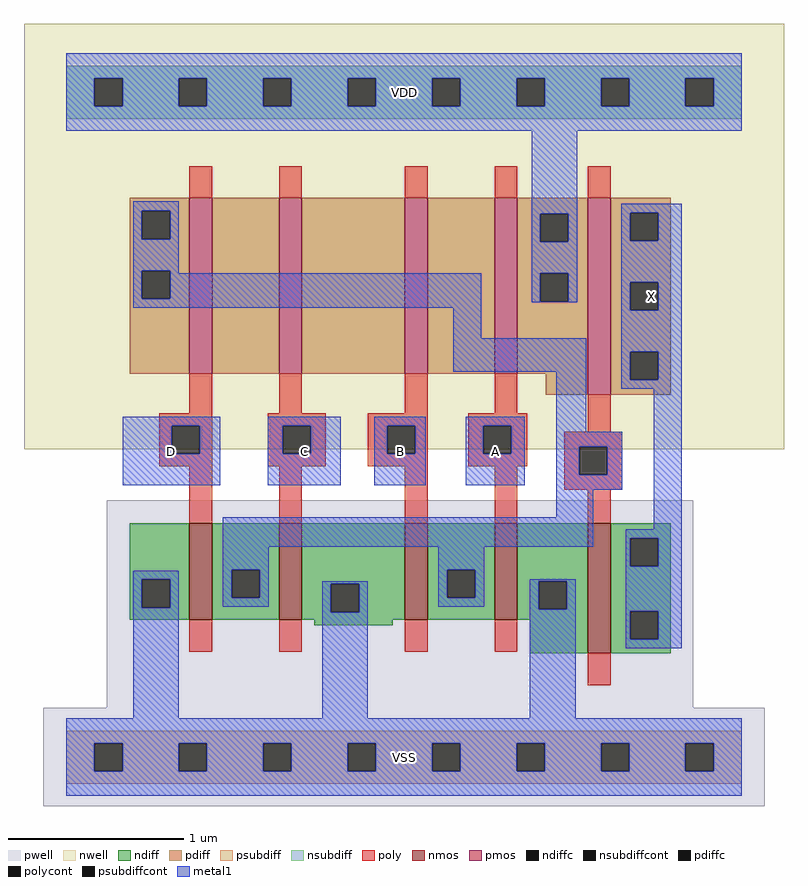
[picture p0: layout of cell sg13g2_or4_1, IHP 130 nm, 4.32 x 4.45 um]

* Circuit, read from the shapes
.subckt sg13g2_or4_1 X C D VDD VSS A B
XM1 n1 D VSS VSS sg13_lv_nmos w=0.55u l=0.13u
XM2 VSS C n1 VSS sg13_lv_nmos w=0.55u l=0.13u
XM3 n1 B VSS VSS sg13_lv_nmos w=0.55u l=0.13u
XM4 VSS A n1 VSS sg13_lv_nmos w=0.55u l=0.13u
XM5 X n1 VSS VSS sg13_lv_nmos w=0.74u l=0.13u
XM6 n2 D n1 VDD sg13_lv_pmos w=1u l=0.13u
XM7 n3 C n2 VDD sg13_lv_pmos w=1u l=0.13u
XM8 n4 B n3 VDD sg13_lv_pmos w=1u l=0.13u
XM9 VDD A n4 VDD sg13_lv_pmos w=1u l=0.13u
XM10 X n1 VDD VDD sg13_lv_pmos w=1.12u l=0.13u
.ends

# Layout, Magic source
magic
tech ihp-sg13g2
magscale 1 2
<< nwell >>
rect -48 350 816 834
<< pwell >>
rect 46 56 713 292
rect -26 -56 794 56
<< nmos >>
rect 140 156 166 266
rect 242 156 268 266
rect 385 156 411 266
rect 487 156 513 266
rect 593 118 619 266
<< pmos >>
rect 140 436 166 636
rect 242 436 268 636
rect 385 436 411 636
rect 487 436 513 636
rect 593 412 619 636
<< ndiff >>
rect 72 202 140 266
rect 72 170 86 202
rect 118 170 140 202
rect 72 156 140 170
rect 166 213 242 266
rect 166 181 188 213
rect 220 181 242 213
rect 166 156 242 181
rect 268 197 385 266
rect 268 165 301 197
rect 333 165 385 197
rect 268 156 385 165
rect 411 213 487 266
rect 411 181 433 213
rect 465 181 487 213
rect 411 156 487 181
rect 513 200 593 266
rect 513 168 537 200
rect 569 168 593 200
rect 513 156 593 168
rect 282 150 371 156
rect 527 118 593 156
rect 619 249 687 266
rect 619 217 641 249
rect 673 217 687 249
rect 619 166 687 217
rect 619 134 641 166
rect 673 134 687 166
rect 619 118 687 134
<< pdiff >>
rect 72 621 140 636
rect 72 589 86 621
rect 118 589 140 621
rect 72 553 140 589
rect 72 521 86 553
rect 118 521 140 553
rect 72 436 140 521
rect 166 436 242 636
rect 268 436 385 636
rect 411 436 487 636
rect 513 618 593 636
rect 513 586 539 618
rect 571 586 593 618
rect 513 550 593 586
rect 513 518 539 550
rect 571 518 593 550
rect 513 436 593 518
rect 545 412 593 436
rect 619 619 687 636
rect 619 587 641 619
rect 673 587 687 619
rect 619 540 687 587
rect 619 508 641 540
rect 673 508 687 540
rect 619 461 687 508
rect 619 429 641 461
rect 673 429 687 461
rect 619 412 687 429
<< ndiffc >>
rect 86 170 118 202
rect 188 181 220 213
rect 301 165 333 197
rect 433 181 465 213
rect 537 168 569 200
rect 641 217 673 249
rect 641 134 673 166
<< pdiffc >>
rect 86 589 118 621
rect 86 521 118 553
rect 539 586 571 618
rect 539 518 571 550
rect 641 587 673 619
rect 641 508 673 540
rect 641 429 673 461
<< psubdiff >>
rect 0 16 768 30
rect 0 -16 32 16
rect 64 -16 128 16
rect 160 -16 224 16
rect 256 -16 320 16
rect 352 -16 416 16
rect 448 -16 512 16
rect 544 -16 608 16
rect 640 -16 704 16
rect 736 -16 768 16
rect 0 -30 768 -16
<< nsubdiff >>
rect 0 772 768 786
rect 0 740 32 772
rect 64 740 128 772
rect 160 740 224 772
rect 256 740 320 772
rect 352 740 416 772
rect 448 740 512 772
rect 544 740 608 772
rect 640 740 704 772
rect 736 740 768 772
rect 0 726 768 740
<< psubdiffcont >>
rect 32 -16 64 16
rect 128 -16 160 16
rect 224 -16 256 16
rect 320 -16 352 16
rect 416 -16 448 16
rect 512 -16 544 16
rect 608 -16 640 16
rect 704 -16 736 16
<< nsubdiffcont >>
rect 32 740 64 772
rect 128 740 160 772
rect 224 740 256 772
rect 320 740 352 772
rect 416 740 448 772
rect 512 740 544 772
rect 608 740 640 772
rect 704 740 736 772
<< poly >>
rect 140 636 166 672
rect 242 636 268 672
rect 385 636 411 672
rect 487 636 513 672
rect 593 636 619 672
rect 140 391 166 436
rect 242 391 268 436
rect 385 391 411 436
rect 487 391 513 436
rect 106 377 166 391
rect 106 345 120 377
rect 152 345 166 377
rect 106 331 166 345
rect 229 377 295 391
rect 229 345 246 377
rect 278 345 295 377
rect 229 331 295 345
rect 343 377 411 391
rect 343 345 365 377
rect 397 345 411 377
rect 343 331 411 345
rect 457 377 524 391
rect 457 345 474 377
rect 506 345 524 377
rect 593 370 619 412
rect 457 331 524 345
rect 566 353 632 370
rect 140 266 166 331
rect 242 266 268 331
rect 385 266 411 331
rect 487 266 513 331
rect 566 321 583 353
rect 615 321 632 353
rect 566 304 632 321
rect 593 266 619 304
rect 140 120 166 156
rect 242 120 268 156
rect 385 120 411 156
rect 487 120 513 156
rect 593 82 619 118
<< polycont >>
rect 120 345 152 377
rect 246 345 278 377
rect 365 345 397 377
rect 474 345 506 377
rect 583 321 615 353
<< metal1 >>
rect 0 772 768 800
rect 0 740 32 772
rect 64 740 128 772
rect 160 740 224 772
rect 256 740 320 772
rect 352 740 416 772
rect 448 740 512 772
rect 544 740 608 772
rect 640 740 704 772
rect 736 740 768 772
rect 0 712 768 740
rect 76 621 128 632
rect 76 589 86 621
rect 118 589 128 621
rect 76 553 128 589
rect 76 521 86 553
rect 118 550 128 553
rect 529 618 581 712
rect 529 586 539 618
rect 571 586 581 618
rect 529 550 581 586
rect 118 521 472 550
rect 76 511 472 521
rect 529 518 539 550
rect 571 518 581 550
rect 529 517 581 518
rect 631 619 700 629
rect 631 587 641 619
rect 673 587 700 619
rect 631 540 700 587
rect 440 476 472 511
rect 631 508 641 540
rect 673 508 700 540
rect 440 438 591 476
rect 64 377 175 387
rect 64 345 120 377
rect 152 345 175 377
rect 64 309 175 345
rect 229 377 312 387
rect 229 345 246 377
rect 278 345 312 377
rect 229 309 312 345
rect 350 377 409 387
rect 350 345 365 377
rect 397 345 409 377
rect 350 309 409 345
rect 454 377 521 387
rect 454 345 474 377
rect 506 345 521 377
rect 454 309 521 345
rect 557 370 591 438
rect 631 461 700 508
rect 631 429 641 461
rect 673 429 700 461
rect 631 419 700 429
rect 557 353 632 370
rect 557 321 583 353
rect 615 321 632 353
rect 557 304 632 321
rect 557 273 599 304
rect 178 239 599 273
rect 668 259 700 419
rect 636 249 700 259
rect 178 213 230 239
rect 76 202 128 212
rect 76 170 86 202
rect 118 170 128 202
rect 178 181 188 213
rect 220 181 230 213
rect 423 213 475 239
rect 178 171 230 181
rect 291 197 343 200
rect 76 44 128 170
rect 291 165 301 197
rect 333 165 343 197
rect 423 181 433 213
rect 465 181 475 213
rect 636 217 641 249
rect 673 217 700 249
rect 423 171 475 181
rect 527 200 579 202
rect 291 44 343 165
rect 527 168 537 200
rect 569 168 579 200
rect 527 44 579 168
rect 636 166 700 217
rect 636 134 641 166
rect 673 134 700 166
rect 636 124 700 134
rect 0 16 768 44
rect 0 -16 32 16
rect 64 -16 128 16
rect 160 -16 224 16
rect 256 -16 320 16
rect 352 -16 416 16
rect 448 -16 512 16
rect 544 -16 608 16
rect 640 -16 704 16
rect 736 -16 768 16
rect 0 -44 768 -16
<< labels >>
flabel metal1 s 631 419 700 629 0 FreeSans 400 0 0 0 X
port 2 nsew
flabel metal1 s 229 309 312 387 0 FreeSans 400 0 0 0 C
port 3 nsew
flabel metal1 s 64 309 175 387 0 FreeSans 400 0 0 0 D
port 4 nsew
flabel metal1 s 0 712 768 800 0 FreeSans 400 0 0 0 VDD
port 5 nsew
flabel metal1 s 0 -44 768 44 0 FreeSans 400 0 0 0 VSS
port 6 nsew
flabel metal1 s 454 309 521 387 0 FreeSans 400 0 0 0 A
port 7 nsew
flabel metal1 s 350 309 409 387 0 FreeSans 400 0 0 0 B
port 8 nsew
<< properties >>
string FIXED_BBOX 0 0 768 756
<< end >>
